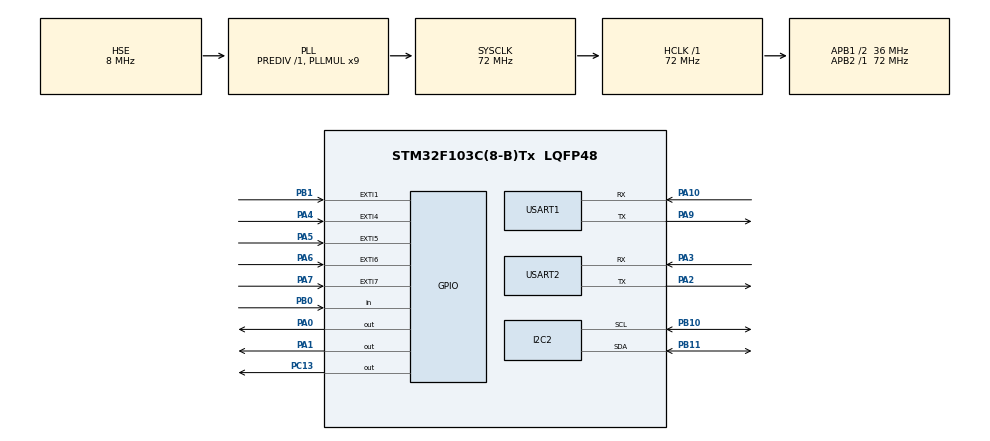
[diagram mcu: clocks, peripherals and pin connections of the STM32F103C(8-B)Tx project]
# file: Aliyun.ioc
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Dma.Request0=USART2_RX
Dma.Request1=USART2_TX
Dma.USART2_RX.0.Direction=DMA_PERIPH_TO_MEMORY
Dma.USART2_RX.0.Instance=DMA1_Channel6
Dma.USART2_RX.0.MemDataAlignment=DMA_MDATAALIGN_BYTE
Dma.USART2_RX.0.MemInc=DMA_MINC_ENABLE
Dma.USART2_RX.0.Mode=DMA_NORMAL
Dma.USART2_RX.0.PeriphDataAlignment=DMA_PDATAALIGN_BYTE
Dma.USART2_RX.0.PeriphInc=DMA_PINC_DISABLE
Dma.USART2_RX.0.Priority=DMA_PRIORITY_LOW
Dma.USART2_TX.1.Direction=DMA_MEMORY_TO_PERIPH
Dma.USART2_TX.1.Instance=DMA1_Channel7
Dma.USART2_TX.1.MemDataAlignment=DMA_MDATAALIGN_BYTE
Dma.USART2_TX.1.MemInc=DMA_MINC_ENABLE
Dma.USART2_TX.1.Mode=DMA_NORMAL
Dma.USART2_TX.1.PeriphDataAlignment=DMA_PDATAALIGN_BYTE
Dma.USART2_TX.1.PeriphInc=DMA_PINC_DISABLE
Dma.USART2_TX.1.Priority=DMA_PRIORITY_LOW
Mcu.Family=STM32F1
Mcu.Name=STM32F103C(8-B)Tx
Mcu.Package=LQFP48
NVIC.DMA1_Channel6_IRQn=true\:0\:0\:false\:false\:true\:false\:true\:true
NVIC.DMA1_Channel7_IRQn=true\:0\:0\:false\:false\:true\:false\:true\:true
NVIC.PriorityGroup=NVIC_PRIORITYGROUP_4
NVIC.USART2_IRQn=true\:1\:0\:true\:false\:true\:true\:true\:true
PA0-WKUP.Signal=GPIO_Output
PA1.Signal=GPIO_Output
PA10.Mode=Asynchronous
PA10.Signal=USART1_RX
PA13.Mode=Serial_Wire
PA13.Signal=SYS_JTMS-SWDIO
PA14.Mode=Serial_Wire
PA14.Signal=SYS_JTCK-SWCLK
PA2.Mode=Asynchronous
PA2.Signal=USART2_TX
PA3.Mode=Asynchronous
PA3.Signal=USART2_RX
PA4.Signal=GPXTI4
PA5.Signal=GPXTI5
PA6.Signal=GPXTI6
PA7.Signal=GPXTI7
PA9.Mode=Asynchronous
PA9.Signal=USART1_TX
PB0.Signal=GPIO_Input
PB1.Signal=GPXTI1
PB10.Mode=I2C
PB10.Signal=I2C2_SCL
PB11.Mode=I2C
PB11.Signal=I2C2_SDA
PC13-TAMPER-RTC.PinState=GPIO_PIN_SET
PC13-TAMPER-RTC.Signal=GPIO_Output
PD0-OSC_IN.Mode=HSE-External-Oscillator
PD0-OSC_IN.Signal=RCC_OSC_IN
PD1-OSC_OUT.Mode=HSE-External-Oscillator
PD1-OSC_OUT.Signal=RCC_OSC_OUT
ProjectManager.HeapSize=0x200
ProjectManager.StackSize=0x400
ProjectManager.TargetToolchain=MDK-ARM V5.32
RCC.AHBFreq_Value=72000000
RCC.APB1CLKDivider=RCC_HCLK_DIV2
RCC.APB1Freq_Value=36000000
RCC.APB1TimFreq_Value=72000000
RCC.APB2Freq_Value=72000000
RCC.APB2TimFreq_Value=72000000
RCC.HCLKFreq_Value=72000000
RCC.PLLMUL=RCC_PLL_MUL9
RCC.PLLSourceVirtual=RCC_PLLSOURCE_HSE
RCC.SYSCLKFreq_VALUE=72000000
RCC.SYSCLKSource=RCC_SYSCLKSOURCE_PLLCLK
RCC.USBFreq_Value=72000000
TIM4.Period=100
TIM4.Prescaler=719
USART1.VirtualMode=VM_ASYNC
USART2.VirtualMode=VM_ASYNC
VP_TIM4_VS_ClockSourceINT.Mode=Internal
board=custom

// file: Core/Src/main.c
/* USER CODE BEGIN Header */
/**
  ******************************************************************************
  * @file           : main.c
  * @brief          : Main program body
  ******************************************************************************
  * @attention
  *
  * Copyright (c) 2024 STMicroelectronics.
  * All rights reserved.
  *
  * This software is licensed under terms that can be found in the LICENSE file
  * in the root directory of this software component.
  * If no LICENSE file comes with this software, it is provided AS-IS.
  *
  ******************************************************************************
  */
/* USER CODE END Header */
#include "main.h"
#include "dma.h"
#include "i2c.h"
#include "tim.h"
#include "usart.h"
#include "gpio.h"

/* USER CODE BEGIN Includes */

#include "string.h"
#include "bsp_oled.h"                            //OLED屏幕驱动头文件
#include "bsp_aliyun.h"                          //阿里云头文件
#include "bsp_iic_sensors.h"                     //IIC协议传感器驱动头文件

/* USER CODE END Includes */

/* USER CODE BEGIN PV */

uint8_t usart2_RX1[512] = {0};                   //串口2接收数据缓冲区,main.h有extern注意看
uint8_t uart2_rec_flag = 0;                      //串口2接收完成中断

extern TIM_HandleTypeDef htim4;

/* USER CODE END PV */

void SystemClock_Config(void);
/* USER CODE BEGIN PFP */

int find_param(char* str, char* keyword);
void OLED_Show_label(void);
void OLED_Show_Sensordat(float temp, float ph, float TDS);
void OLED_Show_LEDdat(int led_val_dip);

/* USER CODE END PFP */

/* USER CODE BEGIN 0 */

/* 时间变量 */
uint16_t year = 2025;  // 初始化为当前年份
uint8_t month = 1;     // 初始化为1月
uint8_t day = 1;       // 初始化为1号
uint8_t hours = 0;
uint8_t minutes = 0;
uint8_t seconds = 0;

/* 访客相关的变量 */
uint8_t visitor_count = 0;
uint8_t last_visitor_seconds = 1;
uint8_t last_visitor_minutes = 1;
uint8_t last_visitor_hours = 1;
uint8_t last_visitor_day = 1;

const uint32_t visitor_timeout = 10;  // 超过10秒认为访客停留过长

/**********语音提醒功能*************/
//语音模块中预设“欢迎光临，请稍等”语句，通过下面命令触发播放
// 发送语音数据（AA 02 00 AC）
void USART2_SendVoiceData(void) {
    uint8_t data[] = {0xAA, 0x02, 0x00, 0xAC};  // 数据字节数组

    // 使用 HAL_UART_Transmit 发送数据
    if (HAL_UART_Transmit(&huart2, data, sizeof(data), 1000) != HAL_OK) {
        // 如果发送失败，可以进行错误处理
        Error_Handler();
    }
}

void OLED_Show_IRStatus(uint8_t status, uint8_t visitor_count) {
    char statusMessage[30];  // 用于存储状态和人数信息

    // 根据红外传感器的状态更新消息
    if (status == 1) {
        // 有人，显示 IR: Someone 和访客人数
        sprintf(statusMessage, "IR: Someone %d", visitor_count);
    } else {
        // 没人，显示 IR: No one
        sprintf(statusMessage, "IR: No one");
    }

    OLED_ShowString(0, 32, (uint8_t*)statusMessage, 16, 1);  // 第三行：显示红外传感器状态和人数

    OLED_Refresh();  // 刷新屏幕显示
}

/* 外部中断服务例程 */
void EXTI0_IRQHandler(void) {
    // 检查中断源
    if (__HAL_GPIO_EXTI_GET_IT(GPIO_PIN_0) != RESET) {
        __HAL_GPIO_EXTI_CLEAR_IT(GPIO_PIN_0);  // 清除中断标志

        // 访客到来时的处理
        visitor_count++;
        if (visitor_count > 0) {
            OLED_Show_IRStatus(1, visitor_count);  // 更新访客计数
        }

				// 记录访客到达时的时、分、秒、天
        last_visitor_seconds = seconds;
        last_visitor_minutes = minutes;
        last_visitor_hours = hours;
        last_visitor_day = day;
        USART2_SendVoiceData();  // 发送语音提醒
    }
}

// 计算访客停留时间
void Check_Visitor_Stay(void) {
    // 如果检测到访客，并且访客停留时间超过设定时间（5秒）
    if (HAL_GPIO_ReadPin(GPIOB, GPIO_PIN_0) == GPIO_PIN_SET) {
        // 计算当前时间与访客到达时的时间差
        uint32_t stay_time_seconds = 0;

        // 计算总秒数
        uint32_t current_time_in_seconds = seconds + minutes * 60 + hours * 3600 + day * 86400;
        uint32_t visitor_arrival_time_in_seconds = last_visitor_seconds + last_visitor_minutes * 60 + last_visitor_hours * 3600 + last_visitor_day * 86400;

        if (current_time_in_seconds >= visitor_arrival_time_in_seconds) {
            stay_time_seconds = current_time_in_seconds - visitor_arrival_time_in_seconds;
        } else {
            stay_time_seconds = (UINT32_MAX - visitor_arrival_time_in_seconds) + current_time_in_seconds + 1; // 处理溢出情况
        }

        // 判断停留时间是否超过设定的阈值（如5秒）
        if (stay_time_seconds >= visitor_timeout) {
            // 如果超过设定时间，启动蜂鸣器报警
                HAL_GPIO_WritePin(GPIOB, GPIO_PIN_8, GPIO_PIN_SET);  // 启动蜂鸣器
								HAL_GPIO_WritePin(GPIOA, GPIO_PIN_0, GPIO_PIN_SET);
								HAL_GPIO_WritePin(GPIOA, GPIO_PIN_1, GPIO_PIN_SET);
        }
    }
}

// 计算星期几的函数（0:星期日, 1:星期一, ... 6:星期六）
int get_weekday(uint16_t year, uint8_t month, uint8_t day) {
    if (month <= 2) {
        month += 12;
        year--;
    }
    int w = (day + 2 * month + (3 * (month + 1)) / 5 + year + (year / 4) - (year / 100) + (year / 400)) % 7;
    return w;  // 返回星期几（0:星期日, 1:星期一, ..., 6:星期六）
}

/* 判断闰年的函数 */
int is_leap_year(uint16_t year) {
    if ((year % 4 == 0 && year % 100 != 0) || (year % 400 == 0)) {
        return 1;  // 是闰年
    }
    return 0;  // 不是闰年
}

/* 获取某月的天数（考虑闰年） */
int get_days_in_month(uint8_t month, uint16_t year) {
    int days_in_month[] = {31, 28, 31, 30, 31, 30, 31, 31, 30, 31, 30, 31};  // 非闰年的月份天数
    if (month == 2 && is_leap_year(year)) {  // 2月的天数需要特殊处理
        return 29;  // 闰年2月有29天
    }
    return days_in_month[month - 1];  // 返回对应月份的天数
}

void OLED_Show_Time(uint16_t year, uint8_t month, uint8_t day, uint8_t hours, uint8_t minutes, uint8_t seconds) {
    char timeStr1[20];  // 用于显示年月日和小时
    char timeStr2[20];  // 用于显示分钟、秒和星期几

    // 计算星期几
    int weekday = get_weekday(year, month, day);
    const char* weekStr[] = {"Sun", "Mon", "Tue", "Wed", "Thu", "Fri", "Sat"};

    // 格式化字符串：第一行显示 年月日 时
    sprintf(timeStr1, "%04d-%02d-%02d %02d", year, month, day, hours);

    // 格式化字符串：第二行显示 分秒 星期几
    sprintf(timeStr2, "%02d:%02d %s", minutes, seconds, weekStr[weekday]);

    // 清除并更新第一行（年月日时）
    OLED_ShowString(0, 0, (uint8_t*)timeStr1, 16, 1);  // 更新第一行内容
    OLED_ShowString(0, 16, (uint8_t*)timeStr2, 16, 1);  // 更新第二行内容

    OLED_Refresh();  // 如果需要刷新屏幕，可以调用 OLED_Refresh()
}

/* 设置项的索引 */
#define SETTING_YEAR   0
#define SETTING_MONTH  1
#define SETTING_DAY    2
#define SETTING_HOUR   3
#define SETTING_MINUTE 4

/* 当前选中的设置项 */
int current_setting = SETTING_YEAR;  // 默认选择“年”

/* 消抖处理 */
volatile uint32_t last_debounce_time = 0;
const uint32_t debounce_delay = 10;  // 消抖时间，单位毫秒

/* 显示当前选项 */
void OLED_Show_CurrentSetting() {
    char timeStr[20];  // YYYY-MM-DD HH:MM格式

    // 根据当前选项设置不同的格式显示
    switch (current_setting) {
        case SETTING_YEAR:
            sprintf(timeStr, "Year: %04d", year);
            break;
        case SETTING_MONTH:
            sprintf(timeStr, "Month: %02d", month);
            break;
        case SETTING_DAY:
            sprintf(timeStr, "Day: %02d", day);
            break;
        case SETTING_HOUR:
            sprintf(timeStr, "Hour: %02d", hours);
            break;
        case SETTING_MINUTE:
            sprintf(timeStr, "Minute: %02d", minutes);
            break;
    }

    OLED_Clear();  // 清除OLED屏幕内容
    OLED_ShowString(0, 0, (uint8_t*)timeStr, 16, 1);  // 显示当前选中的设置
    OLED_Refresh();  // 刷新屏幕
}

/* PA4中断处理函数：切换设置项 */
void EXTI4_IRQHandler(void) {
    if (__HAL_GPIO_EXTI_GET_IT(GPIO_PIN_4) != RESET) {
        __HAL_GPIO_EXTI_CLEAR_IT(GPIO_PIN_4);  // 清除中断标志位

        // 检查消抖时间
        if (HAL_GetTick() - last_debounce_time >= debounce_delay) {
            // 切换设置项
            current_setting++;
            if (current_setting > SETTING_MINUTE) {
                current_setting = SETTING_YEAR;  // 循环回到“年”
            }

            OLED_Show_CurrentSetting();  // 显示当前选项
            last_debounce_time = HAL_GetTick();  // 更新消抖时间
        }
    }
}

/* PA7中断处理函数：确认设置 */
void EXTI9_5_IRQHandler(void) {
	if (__HAL_GPIO_EXTI_GET_IT(GPIO_PIN_5) != RESET) {
        __HAL_GPIO_EXTI_CLEAR_IT(GPIO_PIN_5);  // 清除中断标志位

        // 检查消抖时间
        if (HAL_GetTick() - last_debounce_time >= debounce_delay) {
            // 增加当前选中的设置项的值
            switch (current_setting) {
                case SETTING_YEAR:
                    year++;
                    if (year > 9999) year = 1900;  // 最大值9999，最小值1900
                    break;
                case SETTING_MONTH:
                    month++;
                    if (month > 12) month = 1;  // 最大值12，最小值1
                    break;
                case SETTING_DAY:
                    if (day < get_days_in_month(month, year)) {
                        day++;
                    } else {
                        day = 1;  // 如果超过了该月天数，则回到1号
                    }
                    break;
                case SETTING_HOUR:
                    hours++;
                    if (hours >= 24) hours = 0;  // 最大值23，最小值0
                    break;
                case SETTING_MINUTE:
                    minutes++;
                    if (minutes >= 60) minutes = 0;  // 最大值59，最小值0
                    break;
            }
            OLED_Show_CurrentSetting();  // 显示当前选项
            last_debounce_time = HAL_GetTick();  // 更新消抖时间
        }
    }
	else if (__HAL_GPIO_EXTI_GET_IT(GPIO_PIN_6) != RESET) {
        __HAL_GPIO_EXTI_CLEAR_IT(GPIO_PIN_6);  // 清除中断标志位

        // 检查消抖时间
        if (HAL_GetTick() - last_debounce_time >= debounce_delay) {
            // 减少当前选中的设置项的值
            switch (current_setting) {
                case SETTING_YEAR:
                    if (year <= 1900) year = 9999;  // 如果年小于1900，则跳到最大值9999
                    else year--;
                    break;
                case SETTING_MONTH:
                    if (month <= 1) month = 12;  // 如果月小于1，则跳到最大值12
                    else month--;
                    break;
                case SETTING_DAY:
                    if (day > 1) {
                        day--;
                    } else {
                        day = get_days_in_month(month, year);  // 如果已经是1号，跳转到该月的最大天数
                    }
                    break;
                case SETTING_HOUR:
                    if (hours <= 0) hours = 23;  // 如果小时为0，则跳到最大值23
                    else hours--;
                    break;
                case SETTING_MINUTE:
                    if (minutes <= 0) minutes = 59;  // 如果分钟为0，则跳到最大值59
                    else minutes--;
                    break;
            }
            OLED_Show_CurrentSetting();  // 显示当前选项
            last_debounce_time = HAL_GetTick();  // 更新消抖时间
        }
    }
	else if (__HAL_GPIO_EXTI_GET_IT(GPIO_PIN_7) != RESET) {
        __HAL_GPIO_EXTI_CLEAR_IT(GPIO_PIN_7);  // 清除中断标志位

        // 确认当前设置项，执行相关操作（如保存到存储器或设置硬件）
        switch (current_setting) {
            case SETTING_YEAR:
                // 确认年份设置
                break;
            case SETTING_MONTH:
                // 确认月份设置
                break;
            case SETTING_DAY:
                // 确认日期设置
                break;
            case SETTING_HOUR:
                // 确认小时设置
                break;
            case SETTING_MINUTE:
                // 确认分钟设置
                break;
        }
        last_debounce_time = HAL_GetTick();  // 更新消抖时间
    }
}

void HAL_TIM_PeriodElapsedCallback(TIM_HandleTypeDef *htim) {
    if (htim->Instance == TIM4) {
        seconds++;
        if (seconds >= 60) {
            seconds = 0;
            minutes++;
            if (minutes >= 60) {
                minutes = 0;
                hours++;
                if (hours >= 24) {
                    hours = 0;
                    day++;  // 每天更新日期
                    if (day > get_days_in_month(month, year)) {  // 如果日期超过了当月最大天数
                        day = 1;  // 重置为1号
                        month++;   // 月份加1
                        if (month > 12) {  // 如果月份超过12月
                            month = 1;   // 重置为1月
                            year++;      // 年份加1
                        }
                    }
                }
            }
        }

        // 在OLED屏幕上显示当前时间和日期
        OLED_Show_Time(year, month, day, hours, minutes, seconds);
    }
}

uint8_t owner_status = 0;  // 0表示没有人，1表示有主人

void OLED_Show_OwnerStatus(void) {
    // 显示简短的消息
    char statusMessage[] = "Home no owner";

    // 在第四行显示消息
    OLED_ShowString(0, 48, (uint8_t*)statusMessage, 16, 1);  // 第四行：显示消息

    OLED_Refresh();  // 刷新屏幕显示
}

void EXTI1_IRQHandler(void) {
    // 检查中断源
    if (__HAL_GPIO_EXTI_GET_IT(GPIO_PIN_1) != RESET) {
        __HAL_GPIO_EXTI_CLEAR_IT(GPIO_PIN_1);  // 清除中断标志

        // 切换房屋状态（有/没有主人）
        if (owner_status == 0) {
            owner_status = 1;  // 房屋有主人
        } else {
            owner_status = 0;  // 房屋没有主人
        }

        // 根据房屋状态更新显示
        if (owner_status == 1) {
            OLED_Show_OwnerStatus();  // 显示房屋有主人的状态
        } else {
            // 没有主人时，显示空格来清除该行内容
            OLED_ShowString(0, 48, (uint8_t*)"                        ", 16, 1);  // 用空格清除显示
            OLED_Refresh();
        }

				/********清除陌生人停留报警状态**********/
        HAL_GPIO_WritePin(GPIOB, GPIO_PIN_8, GPIO_PIN_RESET);
				HAL_GPIO_WritePin(GPIOA, GPIO_PIN_0, GPIO_PIN_RESET);
				HAL_GPIO_WritePin(GPIOA, GPIO_PIN_1, GPIO_PIN_RESET);
    }
}

/* USER CODE END 0 */

int main(void)
{

  /* USER CODE BEGIN 1 */

  uint16_t post_time_count = 0;                  //定时任务变量

  /* USER CODE END 1 */

  /* MCU Configuration--------------------------------------------------------*/

  /* Reset of all peripherals, Initializes the Flash interface and the Systick. */
  HAL_Init();

  /* Configure the system clock */
  SystemClock_Config();

  /* Initialize all configured peripherals */
  MX_GPIO_Init();
	MX_KEY_Init();
  MX_DMA_Init();
  MX_USART1_UART_Init();
  MX_TIM4_Init();
  MX_USART2_UART_Init();
  MX_I2C2_Init();

	HAL_TIM_Base_Init(&htim4);  // 重新初始化定时器
	HAL_TIM_Base_Start_IT(&htim4);  // 启动定时器中断
  /* USER CODE BEGIN 2 */

	OLED_Init();
	OLED_ColorTurn(0);                             //0正常显示，1 反色显示
  OLED_DisplayTurn(0);                           //0正常显示 1 屏幕翻转显示
	OLED_ShowString(28,16,(uint8_t *)"Welcome to",16,1);
	OLED_ShowString(28,32,(uint8_t *)"This System",16,1);
	OLED_Refresh();                                //刷新屏幕内容

//	HAL_TIM_PWM_Start(&htim4,TIM_CHANNEL_4);
	HAL_UARTEx_ReceiveToIdle_DMA(&huart2,usart2_RX1,sizeof(usart2_RX1)); //第三个参数是指最多能接收的字节数量
	__HAL_DMA_DISABLE_IT(&hdma_usart2_rx, DMA_IT_HT);                    //关闭DMA过半中断

	OLED_Clear();
//	OLED_Show_label();

	HAL_Delay(1000);

  /* USER CODE END 2 */

  /* Infinite loop */
  /* USER CODE BEGIN WHILE */
  while (1)
  {
    Check_Visitor_Stay(); // 检查访客停留时间

    if(++post_time_count >= 2000)                //定时上传数据，更改上传频率可适当改小此阈值，
		{
			HAL_GPIO_WritePin(GPIOC, GPIO_PIN_13, GPIO_PIN_RESET);  //数据上传指示灯亮
			post_time_count = 0;
			//USART2_SendVoiceData();
			//OLED_Show_OwnerStatus();
			HAL_GPIO_WritePin(GPIOC, GPIO_PIN_13, GPIO_PIN_SET);    //上传结束，熄灭
		}

		HAL_Delay(1);
    /* USER CODE END WHILE */

  }
}

void SystemClock_Config(void)
{
  RCC_OscInitTypeDef RCC_OscInitStruct = {0};
  RCC_ClkInitTypeDef RCC_ClkInitStruct = {0};

  /** Initializes the RCC Oscillators according to the specified parameters
  * in the RCC_OscInitTypeDef structure.
  */
  RCC_OscInitStruct.OscillatorType = RCC_OSCILLATORTYPE_HSE;
  RCC_OscInitStruct.HSEState = RCC_HSE_ON;
  RCC_OscInitStruct.HSEPredivValue = RCC_HSE_PREDIV_DIV1;
  RCC_OscInitStruct.HSIState = RCC_HSI_ON;
  RCC_OscInitStruct.PLL.PLLState = RCC_PLL_ON;
  RCC_OscInitStruct.PLL.PLLSource = RCC_PLLSOURCE_HSE;
  RCC_OscInitStruct.PLL.PLLMUL = RCC_PLL_MUL9;
  if (HAL_RCC_OscConfig(&RCC_OscInitStruct) != HAL_OK)
  {
    Error_Handler();
  }

  /** Initializes the CPU, AHB and APB buses clocks
  */
  RCC_ClkInitStruct.ClockType = RCC_CLOCKTYPE_HCLK|RCC_CLOCKTYPE_SYSCLK
                              |RCC_CLOCKTYPE_PCLK1|RCC_CLOCKTYPE_PCLK2;
  RCC_ClkInitStruct.SYSCLKSource = RCC_SYSCLKSOURCE_PLLCLK;
  RCC_ClkInitStruct.AHBCLKDivider = RCC_SYSCLK_DIV1;
  RCC_ClkInitStruct.APB1CLKDivider = RCC_HCLK_DIV2;
  RCC_ClkInitStruct.APB2CLKDivider = RCC_HCLK_DIV1;

  if (HAL_RCC_ClockConfig(&RCC_ClkInitStruct, FLASH_LATENCY_2) != HAL_OK)
  {
    Error_Handler();
  }
}

/* USER CODE BEGIN 4 */

void HAL_UARTEx_RxEventCallback(UART_HandleTypeDef *huart, uint16_t Size)
{
	if(huart->Instance == USART2)
	{
		HAL_UART_Transmit(&huart1,usart2_RX1,Size,10);                        //串口1打印接受的数据

		char *pos_test = strstr((char*)usart2_RX1, "+MQTTSUBRECV");           //阿里云下发指令由+MQTTSUBRECV开头
		if(pos_test != NULL){
			uart2_rec_flag = 1;
		}
		HAL_UARTEx_ReceiveToIdle_DMA(&huart2,usart2_RX1,sizeof(usart2_RX1));  //重新打开DMA接收
		__HAL_DMA_DISABLE_IT(&hdma_usart2_rx, DMA_IT_HT);                     //关闭DMA过半中断
	}
}

/*
 * @brief find_param
 * @retval 从字符串数据中查找关键词
 */
int find_param(char* str, char* keyword)
{
	char* pos = strstr(str, keyword);
	int num = 0;

	if (pos != NULL)
	{
		pos += strlen(keyword);
		while (*pos != ':'){
			pos++; //寻找冒号,定位到参数起始位置
		}

		pos++;  //跳过冒号
		char param_value[100];
		int i = 0;

		while(*pos != ',' && *pos != '}'){
			param_value[i++] = *pos++; //提取参数,直到遇到逗号或者右花括号
		}
		param_value[i] = '\0';
		num = atoi(param_value);
	}

	return num;
}

void OLED_Show_Sensordat(float temp, float ph, float TDS)
{
    char temp_str[10];      // 用于存储温度的字符串
    char ph_str[10];        // 用于存储pH值的字符串
    char turbidity_str[10]; // 用于存储水浊度的字符串
    char ec_str[10];        // 用于存储电导率的字符串

    // 处理温度数据
    sprintf(temp_str, "%.1f", temp); // 将温度数据转换为字符串，保留1位小数
		OLED_ShowString(0, 0, (uint8_t*)"Temp", 16, 1);  // 显示 "Temp"
    OLED_ShowString(41, 0, (uint8_t*)temp_str, 16, 1);  // 显示温度字符串

    // 处理PH值
    sprintf(ph_str, "%.1f", ph); // 将PH值数据转换为字符串，保留1位小数
		OLED_ShowString(0, 17, (uint8_t*)"pH", 16, 1);  // 显示 "pH"
    OLED_ShowString(41, 17, (uint8_t*)ph_str, 16, 1); // 显示pH值字符串

    // 处理电导率数据
    sprintf(ec_str, "%.1f", TDS); // 将TDS数据转换为字符串，保留1位小数
		OLED_ShowString(0, 33, (uint8_t*)"TDS", 16, 1);  // 显示 "EC"
    OLED_ShowString(41, 33, (uint8_t*)ec_str, 16, 1);  // 显示电导率字符串

    // 刷新屏幕
    OLED_Refresh();
}

void OLED_Show_label(void)
{
	OLED_ShowChinese(0,0,0,16,1);                     //显示“温”
	OLED_ShowChinese(17,0,1,16,1);                    //显示“度”
	OLED_ShowChinese(33,0,2,16,1);                    //显示“:”

	OLED_ShowChinese(0,17,4,16,1);                    //显示“湿”
	OLED_ShowChinese(17,17,1,16,1);                   //显示“度”
	OLED_ShowChinese(33,17,2,16,1);                   //显示“:”

	OLED_ShowChinese(0,33,5,16,1);                    //显示“亮”
	OLED_ShowChinese(17,33,1,16,1);                   //显示“度”
	OLED_ShowChinese(33,33,2,16,1);                   //显示“:”

	OLED_ShowString(0,49,(uint8_t *)"LED:",16,1);
	OLED_Refresh();                                   //刷新屏幕内容
}

/* USER CODE END 4 */

void Error_Handler(void)
{
  __disable_irq();
  while (1)
  {
  }
}
